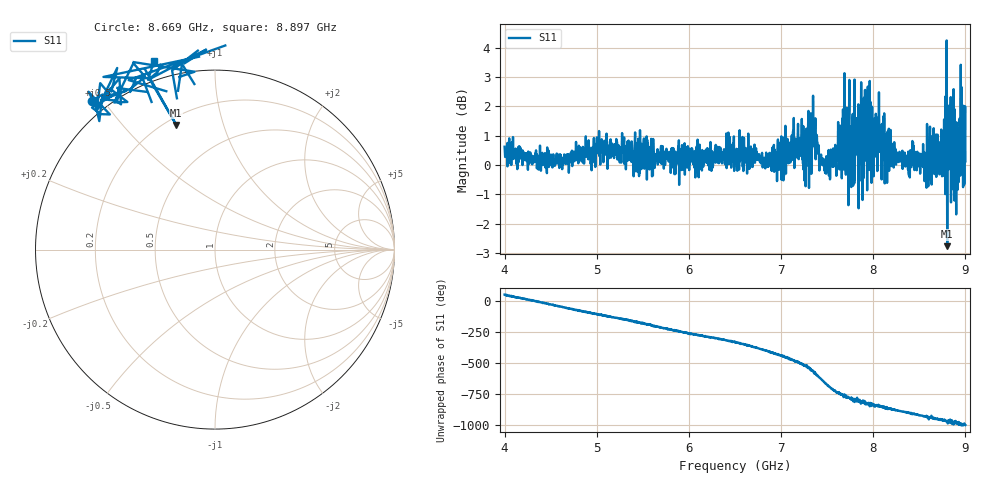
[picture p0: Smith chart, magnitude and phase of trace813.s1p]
! Created with skrf 1.8.0 (http://scikit-rf.org).
# Hz S RI R 50.0
!freq ReS11 ImS11
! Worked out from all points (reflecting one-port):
!   1601 points, 4 GHz to 9 GHz, reference 50 ohm
!   lowest |S11| = -2.8 dB at 8.803 GHz (marker M1), VSWR 6.32, Z = 12 + j35.4 ohm
!   phase of S11 starts at 52 deg and turns -1054 deg over the sweep
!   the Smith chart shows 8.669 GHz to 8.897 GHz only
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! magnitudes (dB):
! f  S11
! 4 GHz  0.6
! 4.625 GHz  -0.1
! 5.25 GHz  0.1
! 5.875 GHz  0.1
! 6.5 GHz  0.5
! 6.825 GHz  0.2
! 7.125 GHz  0.3
! 7.262 GHz  1.0
! 7.366 GHz  0.6
! 7.438 GHz  0.1
! 7.509 GHz  0.0
! 7.666 GHz  1.6
! 7.75 GHz  0.0
! 7.769 GHz  -0.1
! 7.822 GHz  0.8
! 7.875 GHz  -0.6
! 7.928 GHz  1.0
! 7.997 GHz  0.6
! 8.047 GHz  -0.1
! 8.375 GHz  0.2
! 8.441 GHz  -0.1
! 8.578 GHz  -0.8
! 8.631 GHz  0.4
! 8.709 GHz  -0.1
! 8.803 GHz  -2.8
! 8.903 GHz  1.5
! 8.956 GHz  0.5
! 9 GHz  0.1
